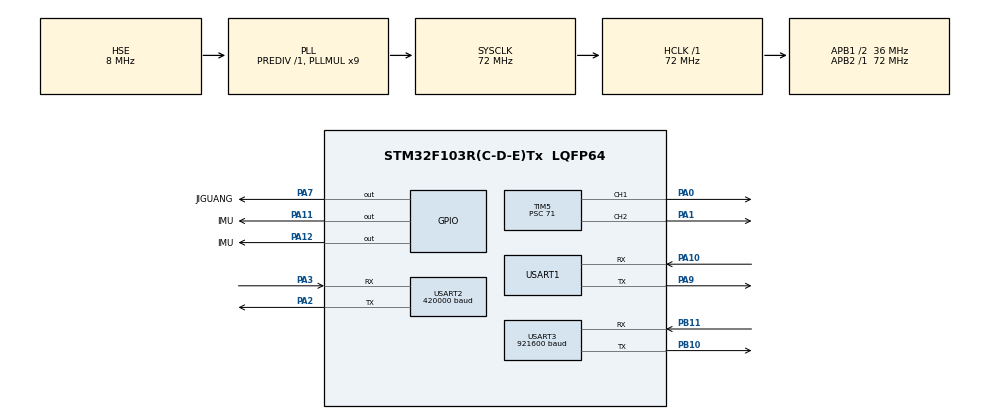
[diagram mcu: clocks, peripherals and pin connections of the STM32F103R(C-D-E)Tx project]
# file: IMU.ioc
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Dma.Request0=USART3_TX
Dma.Request1=USART3_RX
Dma.Request2=USART2_RX
Dma.Request3=USART2_TX
Dma.USART2_RX.2.Direction=DMA_PERIPH_TO_MEMORY
Dma.USART2_RX.2.Instance=DMA1_Channel6
Dma.USART2_RX.2.MemDataAlignment=DMA_MDATAALIGN_BYTE
Dma.USART2_RX.2.MemInc=DMA_MINC_ENABLE
Dma.USART2_RX.2.Mode=DMA_CIRCULAR
Dma.USART2_RX.2.PeriphDataAlignment=DMA_PDATAALIGN_BYTE
Dma.USART2_RX.2.PeriphInc=DMA_PINC_DISABLE
Dma.USART2_RX.2.Priority=DMA_PRIORITY_HIGH
Dma.USART2_TX.3.Direction=DMA_MEMORY_TO_PERIPH
Dma.USART2_TX.3.Instance=DMA1_Channel7
Dma.USART2_TX.3.MemDataAlignment=DMA_MDATAALIGN_BYTE
Dma.USART2_TX.3.MemInc=DMA_MINC_ENABLE
Dma.USART2_TX.3.Mode=DMA_NORMAL
Dma.USART2_TX.3.PeriphDataAlignment=DMA_PDATAALIGN_BYTE
Dma.USART2_TX.3.PeriphInc=DMA_PINC_DISABLE
Dma.USART2_TX.3.Priority=DMA_PRIORITY_LOW
Dma.USART3_RX.1.Direction=DMA_PERIPH_TO_MEMORY
Dma.USART3_RX.1.Instance=DMA1_Channel3
Dma.USART3_RX.1.MemDataAlignment=DMA_MDATAALIGN_BYTE
Dma.USART3_RX.1.MemInc=DMA_MINC_ENABLE
Dma.USART3_RX.1.Mode=DMA_NORMAL
Dma.USART3_RX.1.PeriphDataAlignment=DMA_PDATAALIGN_BYTE
Dma.USART3_RX.1.PeriphInc=DMA_PINC_DISABLE
Dma.USART3_RX.1.Priority=DMA_PRIORITY_HIGH
Dma.USART3_TX.0.Direction=DMA_MEMORY_TO_PERIPH
Dma.USART3_TX.0.Instance=DMA1_Channel2
Dma.USART3_TX.0.MemDataAlignment=DMA_MDATAALIGN_BYTE
Dma.USART3_TX.0.MemInc=DMA_MINC_ENABLE
Dma.USART3_TX.0.Mode=DMA_NORMAL
Dma.USART3_TX.0.PeriphDataAlignment=DMA_PDATAALIGN_BYTE
Dma.USART3_TX.0.PeriphInc=DMA_PINC_DISABLE
Dma.USART3_TX.0.Priority=DMA_PRIORITY_HIGH
Mcu.Family=STM32F1
Mcu.Name=STM32F103R(C-D-E)Tx
Mcu.Package=LQFP64
NVIC.DMA1_Channel2_IRQn=true\:0\:0\:false\:false\:true\:false\:true\:true
NVIC.DMA1_Channel3_IRQn=true\:0\:0\:false\:false\:true\:false\:true\:true
NVIC.DMA1_Channel6_IRQn=true\:0\:0\:false\:false\:true\:false\:true\:true
NVIC.DMA1_Channel7_IRQn=true\:0\:0\:false\:false\:true\:false\:true\:true
NVIC.PriorityGroup=NVIC_PRIORITYGROUP_4
NVIC.USART2_IRQn=true\:0\:0\:false\:false\:true\:true\:true\:true
NVIC.USART3_IRQn=true\:0\:0\:false\:false\:true\:true\:true\:true
PA0-WKUP.Signal=S_TIM5_CH1
PA1.Signal=S_TIM5_CH2
PA10.Mode=Asynchronous
PA10.Signal=USART1_RX
PA11.GPIO_Label=IMU
PA11.GPIO_ModeDefaultOutputPP=GPIO_MODE_OUTPUT_OD
PA11.GPIO_PuPd=GPIO_PULLUP
PA11.GPIO_Speed=GPIO_SPEED_FREQ_HIGH
PA11.PinState=GPIO_PIN_SET
PA11.Signal=GPIO_Output
PA11.Stacked=true
PA12.GPIO_Label=IMU
PA12.GPIO_ModeDefaultOutputPP=GPIO_MODE_OUTPUT_OD
PA12.GPIO_PuPd=GPIO_PULLUP
PA12.GPIO_Speed=GPIO_SPEED_FREQ_HIGH
PA12.PinState=GPIO_PIN_SET
PA12.Signal=GPIO_Output
PA13.Mode=Serial_Wire
PA13.Signal=SYS_JTMS-SWDIO
PA13.Stacked=true
PA14.Mode=Serial_Wire
PA14.Signal=SYS_JTCK-SWCLK
PA2.Mode=Asynchronous
PA2.Signal=USART2_TX
PA3.Mode=Asynchronous
PA3.Signal=USART2_RX
PA7.GPIO_Label=JIGUANG
PA7.Signal=GPIO_Output
PA9.Mode=Asynchronous
PA9.Signal=USART1_TX
PB10.Mode=Asynchronous
PB10.Signal=USART3_TX
PB11.Mode=Asynchronous
PB11.Signal=USART3_RX
PD0-OSC_IN.Mode=HSE-External-Oscillator
PD0-OSC_IN.Signal=RCC_OSC_IN
PD1-OSC_OUT.Mode=HSE-External-Oscillator
PD1-OSC_OUT.Signal=RCC_OSC_OUT
ProjectManager.HeapSize=0x200
ProjectManager.StackSize=0x400
ProjectManager.TargetToolchain=Makefile
RCC.AHBFreq_Value=72000000
RCC.APB1CLKDivider=RCC_HCLK_DIV2
RCC.APB1Freq_Value=36000000
RCC.APB1TimFreq_Value=72000000
RCC.APB2Freq_Value=72000000
RCC.APB2TimFreq_Value=72000000
RCC.HCLKFreq_Value=72000000
RCC.PLLMUL=RCC_PLL_MUL9
RCC.PLLSourceVirtual=RCC_PLLSOURCE_HSE
RCC.SYSCLKFreq_VALUE=72000000
RCC.SYSCLKSource=RCC_SYSCLKSOURCE_PLLCLK
RCC.USBFreq_Value=72000000
SH.S_TIM5_CH1.0=TIM5_CH1,PWM Generation1 CH1
SH.S_TIM5_CH2.0=TIM5_CH2,PWM Generation2 CH2
TIM5.Channel-PWM\ Generation1\ CH1=TIM_CHANNEL_1
TIM5.Channel-PWM\ Generation2\ CH2=TIM_CHANNEL_2
TIM5.Period=3002
TIM5.Prescaler=71
TIM5.Pulse-PWM\ Generation1\ CH1=500
USART1.VirtualMode=VM_ASYNC
USART2.BaudRate=420000
USART2.VirtualMode=VM_ASYNC
USART3.BaudRate=921600
USART3.VirtualMode=VM_ASYNC
board=custom

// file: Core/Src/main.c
/* USER CODE BEGIN Header */
/**
  ******************************************************************************
  * @file           : main.c
  * @brief          : Main program body
  ******************************************************************************
  * @attention
  *
  * Copyright (c) 2025 STMicroelectronics.
  * All rights reserved.
  *
  * This software is licensed under terms that can be found in the LICENSE file
  * in the root directory of this software component.
  * If no LICENSE file comes with this software, it is provided AS-IS.
  *
  ******************************************************************************
  */
/* USER CODE END Header */
#include "main.h"
#include "dma.h"
#include "tim.h"
#include "usart.h"
#include "gpio.h"

/* USER CODE BEGIN Includes */
#include <stdbool.h>
#include <stdio.h>
#include <string.h>
#include <stdint.h>
#include "imu.h"
#include "servo.h"
#include "crsf.h"
#include "watchdog.h"
#include "safety_control.h"
/* USER CODE END Includes */

/* USER CODE BEGIN PTD */
typedef struct
{
  void     (*task_func)(void);
  uint32_t period_ms;
  uint32_t last_run_tick;
  uint8_t  priority;
  const char *name;
} Task_t;

typedef struct
{
  float    pitch_deg;
  float    yaw_deg;
  uint32_t timestamp_ms;
  bool     pending;
} ServoCommand_t;

static void Task_IMU(void);
static void Task_CRSF(void);
static void Task_Servo(void);
static void Task_Watchdog(void);

/* USER CODE END PTD */

/* USER CODE BEGIN PD */
#define ARRAY_SIZE(array) \
  (sizeof(array) / sizeof((array)[0]) + \
   sizeof(char[1 - 2 * __builtin_types_compatible_p(typeof(array), typeof(&(array)[0]))]) * 0U)

/* USER CODE END PD */

/* USER CODE BEGIN PV */
static bool g_servo_available      = false;
static bool g_servo_fault_reported = false;
static ServoCommand_t g_servo_command = {0.0f, 0.0f, 0U, false};
static Task_t g_task_table[] = {
  { Task_Watchdog,  10U, 0U, 0U, "Watchdog" },
  { Task_CRSF,      20U, 0U, 1U, "CRSF" },
  { Task_Servo,     20U, 0U, 2U, "Servo" },
  { Task_IMU,      100U, 0U, 3U, "IMU" }
};
/* USER CODE END PV */

void SystemClock_Config(void);
/* USER CODE BEGIN PFP */
static float CrsfChannelToAngle(uint16_t value);
/* USER CODE END PFP */

/* USER CODE BEGIN 0 */

/**
 * @brief  通过UART发送文本字符串
 * @details
 *         封装HAL_UART_Transmit函数，简化串口文本输出
 *         自动计算字符串长度，阻塞方式发送
 *
 * @param  text  指向以NULL结尾的C字符串的指针
 *
 * @retval 无
 *
 * @note   使用UART1 (huart1) 作为输出端口
 * @note   参数验证: 拒绝NULL指针，防止程序崩溃
 * @note   阻塞模式 (HAL_MAX_DELAY): 等待数据完全发送完成
 * @note   发送前需确保UART已通过MX_USART1_UART_Init()初始化
 */
void UartSendText(const char *text)
{
  /* 防御性编程: 检查空指针 */
  if (text == NULL)
  {
    return;  /* 空指针，直接返回避免错误 */
  }

  /* 发送字符串到UART1 */
  const size_t len = strnlen(text, UINT16_MAX);
  if (len == 0U)
  {
    return;
  }

  HAL_UART_Transmit(&huart1, (uint8_t *)text, (uint16_t)len, 1000U);
}

static float CrsfChannelToAngle(uint16_t value)
{
  if (value <= CRSF_CHANNEL_VALUE_MIN)
  {
    return SERVO_MIN_ANGLE_DEG;
  }
  if (value >= CRSF_CHANNEL_VALUE_MAX)
  {
    return SERVO_MAX_ANGLE_DEG;
  }

  const float normalized = (float)(value - CRSF_CHANNEL_VALUE_MIN) /
                           (float)(CRSF_CHANNEL_VALUE_MAX - CRSF_CHANNEL_VALUE_MIN);
  return SERVO_MIN_ANGLE_DEG +
         normalized * (SERVO_MAX_ANGLE_DEG - SERVO_MIN_ANGLE_DEG);
}

static bool Servo_ApplyAngles(float pitch_angle, float yaw_angle)
{
  const ServoStatus_t pitch_status = Servo_SetAngle(SERVO_PITCH, pitch_angle);
  const ServoStatus_t yaw_status   = Servo_SetAngle(SERVO_YAW, yaw_angle);

  if ((pitch_status != SERVO_STATUS_OK) || (yaw_status != SERVO_STATUS_OK))
  {
    if (!g_servo_fault_reported)
    {
      UartSendText("艹，舵机命令写不进去，检查TIM5和供电！\r\n");
      g_servo_fault_reported = true;
    }
    return false;
  }

  return true;
}

static void Task_IMU(void)
{
  const uint32_t task_start = HAL_GetTick();
  IMU_Data_t imu_data;

  if (IMU_ReadData(&imu_data) == IMU_OK)
  {
    char uart_buffer[160] = {0};
    const int length = snprintf(
        uart_buffer,
        sizeof(uart_buffer),
        "ACC[g]: %.2f %.2f %.2f | GYRO[deg/s]: %.1f %.1f %.1f | TEMP[C]: %.1f\r\n",
        imu_data.accel_x, imu_data.accel_y, imu_data.accel_z,
        imu_data.gyro_x,  imu_data.gyro_y,  imu_data.gyro_z,
        imu_data.temperature);

    if ((length > 0) && (length < (int)sizeof(uart_buffer)))
    {
      HAL_UART_Transmit(&huart1, (uint8_t *)uart_buffer, (uint16_t)length, 50U);
    }
  }
  else
  {
    UartSendText("[ERROR] IMU数据读取失败，请检查I2C通信状态\r\n");
  }

  const uint32_t task_elapsed = HAL_GetTick() - task_start;
  if (task_elapsed > 50U)
  {
    UartSendText("[WARN] Task_IMU执行超时，可能存在硬件故障\r\n");
  }
}

static void Task_CRSF(void)
{
  CRSF_Update();

  CRSF_Data_t rc_snapshot;
  const bool has_new_frame = CRSF_PullLatest(&rc_snapshot);

  SafetyControl_Update(has_new_frame ? &rc_snapshot : NULL, has_new_frame);

  if (has_new_frame)
  {
    g_servo_command.timestamp_ms = rc_snapshot.timestamp_ms;
  }

  if (SafetyControl_IsGimbalLocked())
  {
    g_servo_command.pitch_deg = SERVO_CENTER_ANGLE_DEG;
    g_servo_command.yaw_deg   = SERVO_CENTER_ANGLE_DEG;
    g_servo_command.timestamp_ms = HAL_GetTick();
    g_servo_command.pending   = true;
  }
  else if (has_new_frame && rc_snapshot.link_active)
  {
    g_servo_command.pitch_deg    = CrsfChannelToAngle(rc_snapshot.channels[0U]);
    g_servo_command.yaw_deg      = CrsfChannelToAngle(rc_snapshot.channels[1U]);
    g_servo_command.pending      = true;
  }
  else
  {
    g_servo_command.pending = false;
  }

#if CRSF_DEBUG_TEST
  static uint32_t last_debug_tick = 0U;
  static uint32_t last_rx_count   = 0U;
  const uint32_t now_tick = HAL_GetTick();

  if ((now_tick - last_debug_tick) >= 500U)
  {
    CRSF_Data_t current_state;
    CRSF_GetData(&current_state);

    const uint32_t current_rx_count = CRSF_GetRxInterruptCount();
    const uint32_t rx_delta         = current_rx_count - last_rx_count;

    char debug_buf[200];
    const int written = snprintf(
        debug_buf,
        sizeof(debug_buf),
        "[CRSF] NEW=%u RX_INT=%lu (+%lu) frame=%lu err=%lu link=%u ch0=%u ch1=%u pitch=%.1f yaw=%.1f pend=%u\r\n",
        has_new_frame ? 1U : 0U,
        (unsigned long)current_rx_count,
        (unsigned long)rx_delta,
        (unsigned long)current_state.frame_counter,
        (unsigned long)current_state.frame_error_counter,
        current_state.link_active ? 1U : 0U,
        (unsigned int)current_state.channels[0U],
        (unsigned int)current_state.channels[1U],
        g_servo_command.pitch_deg,
        g_servo_command.yaw_deg,
        g_servo_command.pending ? 1U : 0U);
    if ((written > 0) && (written < (int)sizeof(debug_buf)))
    {
      HAL_UART_Transmit(&huart1, (uint8_t *)debug_buf, (uint16_t)written, 50U);
    }

    last_debug_tick = now_tick;
    last_rx_count   = current_rx_count;
  }
#endif
}

static void Task_Servo(void)
{
  if (!g_servo_available)
  {
    g_servo_command.pending = false;
#if CRSF_DEBUG_TEST
    static uint32_t warn_count = 0U;
    if (((++warn_count) % 50U) == 0U)
    {
      UartSendText("[SERVO] WARN: g_servo_available=false, 舵机未初始化\r\n");
    }
#endif
    return;
  }

  if (!g_servo_command.pending)
  {
    return;
  }

#if CRSF_DEBUG_TEST
  const float pitch_before = Servo_GetAngle(SERVO_PITCH);
  const float yaw_before   = Servo_GetAngle(SERVO_YAW);
#endif

  if (!Servo_ApplyAngles(g_servo_command.pitch_deg, g_servo_command.yaw_deg))
  {
    g_servo_available       = false;
    g_servo_command.pending = false;
    UartSendText("[SERVO] ERROR: Servo_ApplyAngles失败，舵机已禁用\r\n");
    return;
  }

#if CRSF_DEBUG_TEST
  const float pitch_after = Servo_GetAngle(SERVO_PITCH);
  const float yaw_after   = Servo_GetAngle(SERVO_YAW);

  static uint32_t exec_count = 0U;
  if (((++exec_count) % 25U) == 0U)
  {
    char servo_debug[120];
    const int len = snprintf(
        servo_debug,
        sizeof(servo_debug),
        "[SERVO] EXEC: Pitch %.1f->%.1f Yaw %.1f->%.1f\r\n",
        pitch_before, pitch_after,
        yaw_before,   yaw_after);
    if ((len > 0) && (len < (int)sizeof(servo_debug)))
    {
      HAL_UART_Transmit(&huart1, (uint8_t *)servo_debug, (uint16_t)len, 50U);
    }
  }
#endif

  g_servo_command.pending = false;
}

static void Task_Watchdog(void)
{
  Watchdog_Kick();
}

/* USER CODE END 0 */

int main(void)
{

  /* MCU Configuration--------------------------------------------------------*/

  /* Reset of all peripherals, Initializes the Flash interface and the Systick. */
  HAL_Init();

  /* Configure the system clock */
  SystemClock_Config();

  /* Initialize all configured peripherals */
  MX_GPIO_Init();
  MX_DMA_Init();
  MX_USART1_UART_Init();
  MX_TIM5_Init();
  MX_USART2_UART_Init();
  MX_USART3_UART_Init();
  /* USER CODE BEGIN 2 */
#if CRSF_DEBUG_TEST
  UartSendText("=== CRSF云台控制系统 DEBUG模式 ===\r\n");
#endif
  const HAL_StatusTypeDef servo_status = Servo_Init();
  if (servo_status == HAL_OK)
  {
    g_servo_available = true;
#if CRSF_DEBUG_TEST
    UartSendText("[INIT] 舵机初始化成功 (TIM5 PWM已启动)\r\n");
#endif
  }
  else
  {
    UartSendText("[WARN] 舵机PWM初始化失败，系统运行于无舵机降级模式，请检查TIM5时钟和供电\r\n");
  }

  CRSF_Init();
#if CRSF_DEBUG_TEST
  UartSendText("[INIT] CRSF协议初始化完成 (UART2 420000bps)\r\n");
  char uart_info[80];
  uint32_t preempt_priority = 0U;
  uint32_t sub_priority     = 0U;
  HAL_NVIC_GetPriority(USART2_IRQn, 0U, &preempt_priority, &sub_priority);
  (void)snprintf(
      uart_info,
      sizeof(uart_info),
      "[INIT] UART2: RX=PA3 TX=PA2 IRQ_Pri=%lu/%lu\r\n",
      (unsigned long)preempt_priority,
      (unsigned long)sub_priority);
  UartSendText(uart_info);
#endif
  Watchdog_Init();

  SafetyControl_Init();

  if (Watchdog_WasReset())
  {
    UartSendText("[WARN] 检测到看门狗复位事件，请排查主循环阻塞问题\r\n");
  }

  /* ==================== 初始化IMU传感器 (新API) ==================== */

  /* 初始化IMU (内部自动完成I2C初始化、芯片ID验证、硬件复位等) */
  const IMU_Status_t imu_status = IMU_Init();
  if (imu_status != IMU_OK)
  {
    /* 初始化失败 - 可能的原因:
     * 1. I2C连接问题 (SCL/SDA接线错误或虚焊)
     * 2. MPU6050供电不足或未上电
     * 3. I2C地址错误 (检查AD0引脚状态)
     * 4. 芯片ID验证失败 (WHO_AM_I != 0x68)
     */
    UartSendText("[ERROR] IMU初始化失败，系统运行于无IMU降级模式，请检查I2C线路和传感器供电\r\n");
  }
  else
  {
    /* 初始化成功，传感器已准备就绪 */
    UartSendText("IMU初始化成功，数据马上给你怼出来。\r\n");
  }

  /* USER CODE END 2 */

  /* Infinite loop */
  while (1)
  {

    /* USER CODE BEGIN 3 */

    const uint32_t now = HAL_GetTick();
    Task_t *selected_task = NULL;

    for (size_t i = 0U; i < ARRAY_SIZE(g_task_table); i++)
    {
      Task_t *task = &g_task_table[i];

      if (task->period_ms == 0U)
      {
        continue;
      }

      if ((now - task->last_run_tick) >= task->period_ms)
      {
        if ((selected_task == NULL) || (task->priority < selected_task->priority))
        {
          selected_task = task;
        }
      }
    }

    if (selected_task != NULL)
    {
#ifdef DEBUG
      const uint32_t start_tick = HAL_GetTick();
#endif

      selected_task->task_func();
      selected_task->last_run_tick = now;

#ifdef DEBUG
      const uint32_t elapsed = HAL_GetTick() - start_tick;
      const uint32_t warn_threshold = (selected_task->period_ms > 1U)
                                        ? (selected_task->period_ms / 2U)
                                        : 1U;
      if (elapsed > warn_threshold)
      {
        char warn_buf[80];
        const int written = snprintf(
            warn_buf,
            sizeof(warn_buf),
            "[WARN] Task %s overrun: %lu ms\r\n",
            selected_task->name,
            (unsigned long)elapsed);
        if (written > 0)
        {
          UartSendText(warn_buf);
        }
      }
#endif

      continue;
    }

	__WFI();

  /* USER CODE END 3 */
  }
}

void SystemClock_Config(void)
{
  RCC_OscInitTypeDef RCC_OscInitStruct = {0};
  RCC_ClkInitTypeDef RCC_ClkInitStruct = {0};

  /** Initializes the RCC Oscillators according to the specified parameters
  * in the RCC_OscInitTypeDef structure.
  */
  RCC_OscInitStruct.OscillatorType = RCC_OSCILLATORTYPE_HSE;
  RCC_OscInitStruct.HSEState = RCC_HSE_ON;
  RCC_OscInitStruct.HSEPredivValue = RCC_HSE_PREDIV_DIV1;
  RCC_OscInitStruct.HSIState = RCC_HSI_ON;
  RCC_OscInitStruct.PLL.PLLState = RCC_PLL_ON;
  RCC_OscInitStruct.PLL.PLLSource = RCC_PLLSOURCE_HSE;
  RCC_OscInitStruct.PLL.PLLMUL = RCC_PLL_MUL9;
  if (HAL_RCC_OscConfig(&RCC_OscInitStruct) != HAL_OK)
  {
    Error_Handler();
  }

  /** Initializes the CPU, AHB and APB buses clocks
  */
  RCC_ClkInitStruct.ClockType = RCC_CLOCKTYPE_HCLK|RCC_CLOCKTYPE_SYSCLK
                              |RCC_CLOCKTYPE_PCLK1|RCC_CLOCKTYPE_PCLK2;
  RCC_ClkInitStruct.SYSCLKSource = RCC_SYSCLKSOURCE_PLLCLK;
  RCC_ClkInitStruct.AHBCLKDivider = RCC_SYSCLK_DIV1;
  RCC_ClkInitStruct.APB1CLKDivider = RCC_HCLK_DIV2;
  RCC_ClkInitStruct.APB2CLKDivider = RCC_HCLK_DIV1;

  if (HAL_RCC_ClockConfig(&RCC_ClkInitStruct, FLASH_LATENCY_2) != HAL_OK)
  {
    Error_Handler();
  }
}

void Error_Handler(void)
{
  __disable_irq();
  while (1)
  {
  }
}
